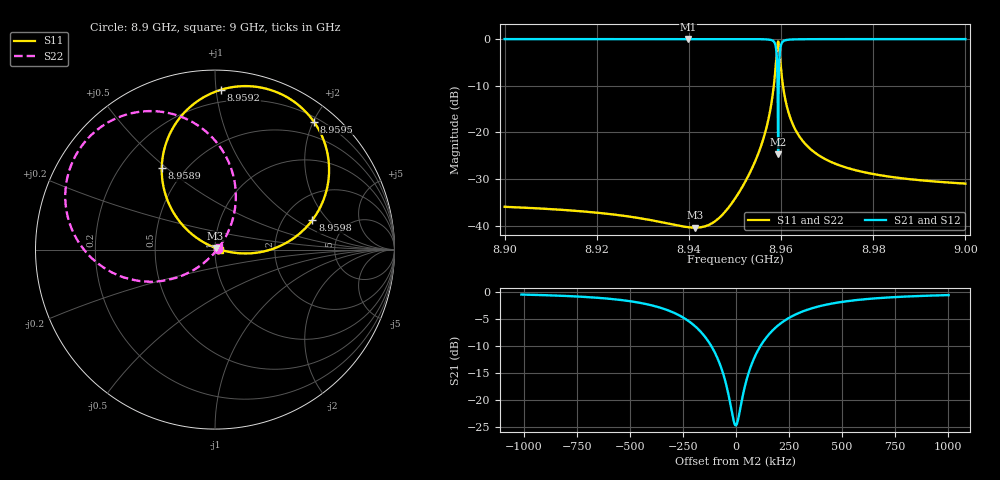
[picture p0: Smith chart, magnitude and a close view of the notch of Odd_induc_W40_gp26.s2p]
! Sonnet Data File
! From: emgraph Version : 16.52
! From Project: Resonator2_cp_varyW
! Data is De-embedded
! Data File Written: 10/08/2017 22:08:32
!< HDATE 10/08/2017 15:20:13
!< MDATE 10/08/2017 15:20:13
!< PARAMS
!< Length = 400.0
!< Pwid1 = 2000.0
!< Pwid2 = 2000.0
!< Air_gap = 24.0
!< Width = 40.0
!< gap = 26.0
!< END PARAMS
# GHZ S MA R 45.40000
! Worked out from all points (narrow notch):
!   1595 points, 8.9 GHz to 9 GHz, reference 45.4 ohm
!   highest |S21| = 0.00 dB at 8.9398 GHz (marker M1); lowest = -24.7 dB at 8.9594 GHz (marker M2)
!   notch at M2: 24.7 dB deep, 171 kHz wide at half that depth
!   lowest |S11| = -40.4 dB at 8.9413 GHz (marker M3), VSWR 1.02, Z = 45.7 + j0.817 ohm
!   |S11| at or under -10 dB: start of sweep to 8.9584 GHz; 8.96041 GHz to end of sweep
!   |S22| runs from -40.4 to -0.5 dB; largest |S21 - S12| = 0
!   S11 on the Smith chart (normalised r, x): 8.9 GHz: 1.03, +0.01; 8.9589 GHz: 0.37, +0.48; 8.9592 GHz: 0.12, +1.03; 8.9595 GHz: 0.27, +2.01; 8.9598 GHz: 2.87, +1.40; 9 GHz: 1.06, +0.00
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8.9  0.01601 17.2  0.9999 -73.8  0.9999 -73.8  0.01601 15.2
!< P1 F=8.9 Eeff=(5.09096395 -2.214e-5) Z0=(45.4059169 1.00354e-4) R=0.0 C=0.0
!< P2 F=8.9 Eeff=(5.09096395 -2.214e-5) Z0=(45.4059169 1.00354e-4) R=0.0 C=0.0
8.9167  0.01432 22.1  0.9999 -74.1  0.9999 -74.1  0.01431 9.7
8.9334  0.01111 39.2  0.9999 -74.5  0.9999 -74.5  0.01109 -8.2
8.9398  0.009679 60.7  0.9999 -74.8  0.9999 -74.8  0.00964 -30.4
8.9413  0.009568 69.0  0.9999 -74.9  0.9999 -74.9  0.009523 -38.9
8.95  0.01957 128.9  0.9997 -76.0  0.9997 -76.0  0.01949 -101.3
8.9562  0.08696 147.6  0.9955 -80.0  0.9955 -80.0  0.0868 -128.5
8.9581  0.2377 142.3  0.9672 -88.8  0.9672 -88.8  0.2374 -141.9
8.958872  0.5419 123.2  0.8175 -107.8  0.8175 -107.8  0.5412 -163.8
8.959094  0.7485 106.1  0.6074 -123.3  0.6074 -123.3  0.7476 178.3
8.959241  0.8917 87.8  0.3253 -136.5  0.3253 -136.5  0.8907 159.5
8.9593  0.9284 78.8  0.1775 -136.4  0.1775 -136.4  0.9273 150.3
8.95936  0.9421 69.2  0.05843 -74.8  0.05843 -74.8  0.941 140.6
8.959417  0.9301 60.1  0.1711 -13.9  0.1711 -13.9  0.929 131.2
8.959469  0.9008 52.3  0.3 -12.8  0.3 -12.8  0.8997 123.2
8.959601  0.7814 35.6  0.5624 -24.0  0.5624 -24.0  0.7805 106.1
8.95984  0.5678 17.0  0.7999 -40.5  0.7999 -40.5  0.5672 86.7
8.960514  0.2919 -1.1  0.9516 -58.1  0.9516 -58.1  0.2916 66.7
8.962015  0.1425 -8.4  0.9888 -66.9  0.9888 -66.9  0.1424 55.3
8.9667  0.06438 -8.5  0.9978 -71.5  0.9978 -71.5  0.06435 45.8
8.9834  0.0337 -2.6  0.9994 -73.4  0.9994 -73.4  0.0337 35.8
9  0.02834 0.1  0.9996 -73.9  0.9996 -73.9  0.02834 32.1
